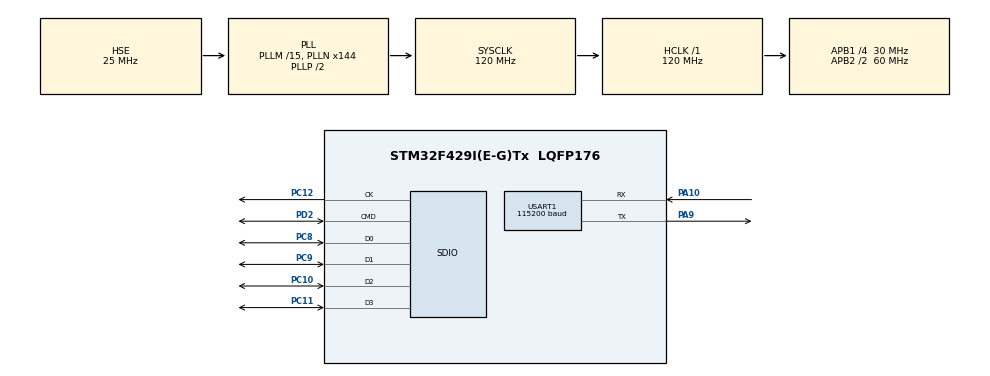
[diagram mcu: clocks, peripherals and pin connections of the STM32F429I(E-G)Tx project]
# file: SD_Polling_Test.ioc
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Mcu.Family=STM32F4
Mcu.Name=STM32F429I(E-G)Tx
Mcu.Package=LQFP176
NVIC.PriorityGroup=NVIC_PRIORITYGROUP_4
PA10.Mode=Asynchronous
PA10.Signal=USART1_RX
PA13.Mode=Serial_Wire
PA13.Signal=SYS_JTMS-SWDIO
PA14.Mode=Serial_Wire
PA14.Signal=SYS_JTCK-SWCLK
PA9.Mode=Asynchronous
PA9.Signal=USART1_TX
PC10.Mode=SD_4_bits_Wide_bus
PC10.Signal=SDIO_D2
PC11.Mode=SD_4_bits_Wide_bus
PC11.Signal=SDIO_D3
PC12.Mode=SD_4_bits_Wide_bus
PC12.Signal=SDIO_CK
PC8.Mode=SD_4_bits_Wide_bus
PC8.Signal=SDIO_D0
PC9.Mode=SD_4_bits_Wide_bus
PC9.Signal=SDIO_D1
PD2.Mode=SD_4_bits_Wide_bus
PD2.Signal=SDIO_CMD
PH0/OSC_IN.Mode=HSE-External-Oscillator
PH0/OSC_IN.Signal=RCC_OSC_IN
PH1/OSC_OUT.Mode=HSE-External-Oscillator
PH1/OSC_OUT.Signal=RCC_OSC_OUT
ProjectManager.HeapSize=0x200
ProjectManager.StackSize=0x400
ProjectManager.TargetToolchain=Makefile
RCC.48MHZClocksFreq_Value=48000000
RCC.AHBFreq_Value=120000000
RCC.APB1CLKDivider=RCC_HCLK_DIV4
RCC.APB1Freq_Value=30000000
RCC.APB1TimFreq_Value=60000000
RCC.APB2CLKDivider=RCC_HCLK_DIV2
RCC.APB2Freq_Value=60000000
RCC.APB2TimFreq_Value=120000000
RCC.CortexFreq_Value=120000000
RCC.HCLKFreq_Value=120000000
RCC.HSE_VALUE=25000000
RCC.HSI_VALUE=16000000
RCC.LSE_VALUE=32768
RCC.PLLM=15
RCC.PLLN=144
RCC.PLLQ=5
RCC.PLLSourceVirtual=RCC_PLLSOURCE_HSE
RCC.SYSCLKFreq_VALUE=120000000
RCC.SYSCLKSource=RCC_SYSCLKSOURCE_PLLCLK
RCC.VCOOutputFreq_Value=240000000
USART1.BaudRate=115200
USART1.VirtualMode=VM_ASYNC
board=custom

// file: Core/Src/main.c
/* USER CODE BEGIN Header */
/**
 ******************************************************************************
 * @file           : main.c
 * @brief          : Main program body
 ******************************************************************************
 * @attention
 *
 * Copyright (c) 2025 STMicroelectronics.
 * All rights reserved.
 *
 * This software is licensed under terms that can be found in the LICENSE file
 * in the root directory of this software component.
 * If no LICENSE file comes with this software, it is provided AS-IS.
 *
 ******************************************************************************
 */
/* USER CODE END Header */
#include "main.h"
#include "sdio.h"
#include "usart.h"
#include "gpio.h"

/* USER CODE BEGIN Includes */
#include "user_printf.h"
/* USER CODE END Includes */

void SystemClock_Config(void);

int main(void)
{

    /* MCU Configuration--------------------------------------------------------*/

    /* Reset of all peripherals, Initializes the Flash interface and the Systick. */
    HAL_Init();

    /* Configure the system clock */
    SystemClock_Config();

    /* Initialize all configured peripherals */
    MX_GPIO_Init();
    MX_SDIO_SD_Init();
    MX_USART1_UART_Init();
    /* USER CODE BEGIN 2 */
    RetargetInit(&huart1);

    printf("Micro SD Card Test...\r\n");
    uint8_t read_buf[512];  // 读数据缓存
    uint8_t write_buf[512]; // 写数据缓存

    int sdcard_status = 0;
    HAL_SD_CardCIDTypeDef sdcard_cid;

    sdcard_status = HAL_SD_GetCardState(&hsd);
    if (sdcard_status == HAL_SD_CARD_TRANSFER) {
        printf("SD card init ok!\r\n\r\n");
        printf("SD card information! \r\n");
        printf("CardCapacity(Byte): %llu \r\n", ((unsigned long long)hsd.SdCard.BlockSize * hsd.SdCard.BlockNbr));
        printf("CardBlockSize(Byte): %d \r\n", hsd.SdCard.BlockSize);
        printf("CardBlockNumber: %d \r\n", hsd.SdCard.BlockNbr);
        printf("RCA: %d \r\n", hsd.SdCard.RelCardAdd);
        printf("CardType: %d \r\n", hsd.SdCard.CardType);

        HAL_SD_GetCardCID(&hsd, &sdcard_cid);
        printf("ManufacturerID: %d \r\n", sdcard_cid.ManufacturerID);
    } else {
        printf("SD card init fail! \r\n");
        return 0;
    }

    printf("------------------- Read SD card block data Test ------------------\r\n");
    sdcard_status = HAL_SD_ReadBlocks(&hsd, (uint8_t *)read_buf, 0, 1, 0xffff);
    if (sdcard_status == HAL_OK) {
        printf("Read block data ok! \r\n");
        for (int i = 0; i < 512; i++) {
            printf("0x%02x ", read_buf[i]);
            if ((i + 1) % 16 == 0) {
                printf("\r\n");
            }
        }
    } else {
        printf("Read block data fail! status = %d \r\n", sdcard_status);
    }

    printf("------------------- Write SD card block data Test ------------------\r\n");
    for (int i = 0; i < 512; i++) {
        write_buf[i] = i % 256;
    }
    sdcard_status = HAL_SD_WriteBlocks(&hsd, (uint8_t *)write_buf, 0, 1, 0xffff);
    if (sdcard_status == HAL_OK) {
        printf("Writing block data. state = %d \r\n", HAL_SD_GetCardState(&hsd));
        while (HAL_SD_GetCardState(&hsd) == HAL_SD_CARD_PROGRAMMING);
        printf("Write block data ok. state = %d \r\n", HAL_SD_GetCardState(&hsd));
    } else {
        printf("Write block data fail! status = %d \r\n", sdcard_status);
    }

    printf("------------------- Read SD card block data after Write ------------------\r\n");
    sdcard_status = HAL_SD_ReadBlocks(&hsd, (uint8_t *)read_buf, 0, 1, 0xffff);
    if (sdcard_status == HAL_OK) {
        printf("Read block data ok! \r\n");
        for (int i = 0; i < 512; i++) {
            printf("0x%02x ", read_buf[i]);
            if ((i + 1) % 16 == 0) {
                printf("\r\n");
            }
        }
    } else {
        printf("Read block data fail! status = %d \r\n", sdcard_status);
    }

    printf("------------------- Block Erase -------------------------------\r\n");
    sdcard_status = HAL_SD_Erase(&hsd, 0, 512);
    if (sdcard_status == HAL_OK) {
        printf("Erasing block. state = %d \r\n", HAL_SD_GetCardState(&hsd));
        while (HAL_SD_GetCardState(&hsd) == HAL_SD_CARD_PROGRAMMING);
        printf("Erase block ok state = %d \r\n", HAL_SD_GetCardState(&hsd));
    } else {
        printf("Erase block fail! status = %d \r\n", sdcard_status);
    }

    printf("------------------- Read SD card block data after Erase ------------------\r\n");
    sdcard_status = HAL_SD_ReadBlocks(&hsd, (uint8_t *)read_buf, 0, 1, 0xffff);
    if (sdcard_status == HAL_OK) {
        printf("Read block data ok \r\n");
        for (int i = 0; i < 512; i++) {
            printf("0x%02x ", read_buf[i]);
            if ((i + 1) % 16 == 0) {
                printf("\r\n");
            }
        }
    } else {
        printf("Read block data fail! status = %d \r\n", sdcard_status);
    }

    printf("------------------- Over ------------------\r\n");

    /* USER CODE END 2 */

    /* Infinite loop */
    while (1) {

        /* USER CODE BEGIN 3 */
        HAL_Delay(1000);
    }
    /* USER CODE END 3 */
}

void SystemClock_Config(void)
{
    RCC_OscInitTypeDef RCC_OscInitStruct = {0};
    RCC_ClkInitTypeDef RCC_ClkInitStruct = {0};

    /** Configure the main internal regulator output voltage
     */
    __HAL_RCC_PWR_CLK_ENABLE();
    __HAL_PWR_VOLTAGESCALING_CONFIG(PWR_REGULATOR_VOLTAGE_SCALE3);

    /** Initializes the RCC Oscillators according to the specified parameters
     * in the RCC_OscInitTypeDef structure.
     */
    RCC_OscInitStruct.OscillatorType = RCC_OSCILLATORTYPE_HSE;
    RCC_OscInitStruct.HSEState       = RCC_HSE_ON;
    RCC_OscInitStruct.PLL.PLLState   = RCC_PLL_ON;
    RCC_OscInitStruct.PLL.PLLSource  = RCC_PLLSOURCE_HSE;
    RCC_OscInitStruct.PLL.PLLM       = 15;
    RCC_OscInitStruct.PLL.PLLN       = 144;
    RCC_OscInitStruct.PLL.PLLP       = RCC_PLLP_DIV2;
    RCC_OscInitStruct.PLL.PLLQ       = 5;
    if (HAL_RCC_OscConfig(&RCC_OscInitStruct) != HAL_OK) {
        Error_Handler();
    }

    /** Initializes the CPU, AHB and APB buses clocks
     */
    RCC_ClkInitStruct.ClockType      = RCC_CLOCKTYPE_HCLK | RCC_CLOCKTYPE_SYSCLK | RCC_CLOCKTYPE_PCLK1 | RCC_CLOCKTYPE_PCLK2;
    RCC_ClkInitStruct.SYSCLKSource   = RCC_SYSCLKSOURCE_PLLCLK;
    RCC_ClkInitStruct.AHBCLKDivider  = RCC_SYSCLK_DIV1;
    RCC_ClkInitStruct.APB1CLKDivider = RCC_HCLK_DIV4;
    RCC_ClkInitStruct.APB2CLKDivider = RCC_HCLK_DIV2;

    if (HAL_RCC_ClockConfig(&RCC_ClkInitStruct, FLASH_LATENCY_3) != HAL_OK) {
        Error_Handler();
    }
}

void Error_Handler(void)
{
    __disable_irq();
    while (1) {
    }
}
